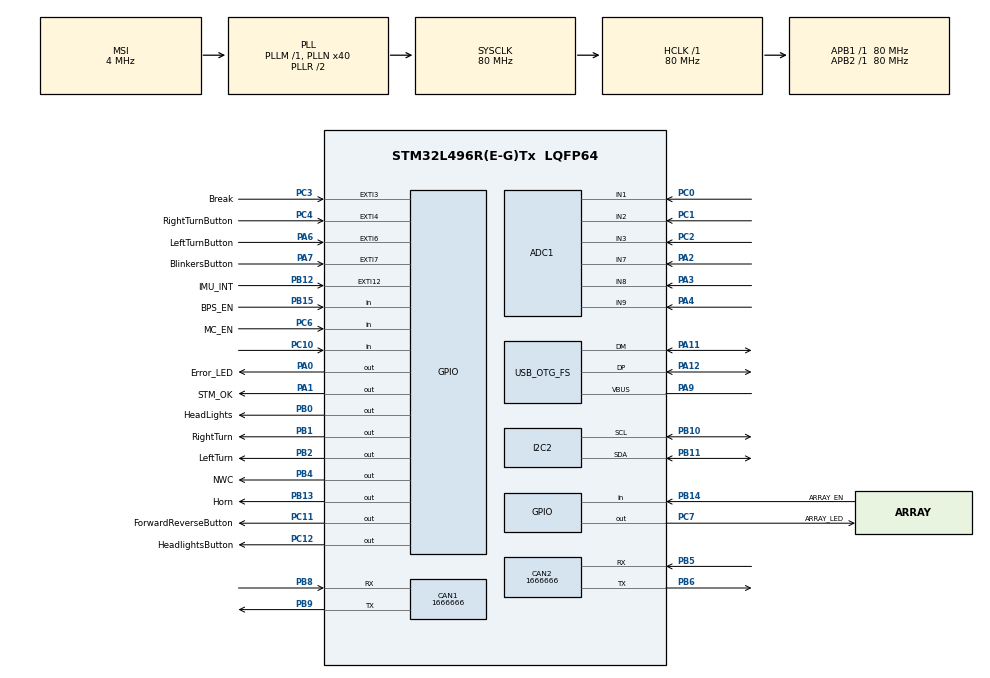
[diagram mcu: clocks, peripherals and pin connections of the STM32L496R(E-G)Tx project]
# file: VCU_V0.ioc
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ADC1.Channel-1\#ChannelRegularConversion=ADC_CHANNEL_1
ADC1.Channel-2\#ChannelRegularConversion=ADC_CHANNEL_1
ADC1.Channel-3\#ChannelRegularConversion=ADC_CHANNEL_1
ADC1.Channel-4\#ChannelRegularConversion=ADC_CHANNEL_1
ADC1.Channel-5\#ChannelRegularConversion=ADC_CHANNEL_1
ADC1.Channel-6\#ChannelRegularConversion=ADC_CHANNEL_1
ADC1.ContinuousConvMode=ENABLE
ADC1.NbrOfConversion=6
ADC1.NbrOfConversionFlag=1
ADC1.OffsetNumber-1\#ChannelRegularConversion=ADC_OFFSET_NONE
ADC1.OffsetNumber-2\#ChannelRegularConversion=ADC_OFFSET_NONE
ADC1.OffsetNumber-3\#ChannelRegularConversion=ADC_OFFSET_NONE
ADC1.OffsetNumber-4\#ChannelRegularConversion=ADC_OFFSET_NONE
ADC1.OffsetNumber-5\#ChannelRegularConversion=ADC_OFFSET_NONE
ADC1.OffsetNumber-6\#ChannelRegularConversion=ADC_OFFSET_NONE
ADC1.Rank-1\#ChannelRegularConversion=1
ADC1.Rank-2\#ChannelRegularConversion=2
ADC1.Rank-3\#ChannelRegularConversion=3
ADC1.Rank-4\#ChannelRegularConversion=4
ADC1.Rank-5\#ChannelRegularConversion=5
ADC1.Rank-6\#ChannelRegularConversion=6
ADC1.SamplingTime-1\#ChannelRegularConversion=ADC_SAMPLETIME_2CYCLES_5
ADC1.SamplingTime-2\#ChannelRegularConversion=ADC_SAMPLETIME_2CYCLES_5
ADC1.SamplingTime-3\#ChannelRegularConversion=ADC_SAMPLETIME_2CYCLES_5
ADC1.SamplingTime-4\#ChannelRegularConversion=ADC_SAMPLETIME_2CYCLES_5
ADC1.SamplingTime-5\#ChannelRegularConversion=ADC_SAMPLETIME_2CYCLES_5
ADC1.SamplingTime-6\#ChannelRegularConversion=ADC_SAMPLETIME_2CYCLES_5
ADC1.master=1
CAN1.BS1=CAN_BS1_1TQ
CAN1.BS2=CAN_BS2_1TQ
CAN1.CalculateBaudRate=1666666
CAN1.CalculateTimeBit=600
CAN1.CalculateTimeQuantum=200.0
CAN2.BS1=CAN_BS1_1TQ
CAN2.BS2=CAN_BS2_1TQ
CAN2.CalculateBaudRate=1666666
CAN2.CalculateTimeBit=600
CAN2.CalculateTimeQuantum=200.0
Dma.ADC1.0.Direction=DMA_PERIPH_TO_MEMORY
Dma.ADC1.0.Instance=DMA1_Channel1
Dma.ADC1.0.MemDataAlignment=DMA_MDATAALIGN_HALFWORD
Dma.ADC1.0.MemInc=DMA_MINC_ENABLE
Dma.ADC1.0.Mode=DMA_NORMAL
Dma.ADC1.0.PeriphDataAlignment=DMA_PDATAALIGN_HALFWORD
Dma.ADC1.0.PeriphInc=DMA_PINC_DISABLE
Dma.ADC1.0.Priority=DMA_PRIORITY_VERY_HIGH
Dma.Request0=ADC1
FREERTOS.Tasks01=LightControl,24,128,StartlLightControl,Default,NULL,Dynamic,NULL,NULL;CarData,32,128,StartCarData,Default,NULL,Dynamic,NULL,NULL;DataCAN,8,128,SendData,Default,NULL,Dynamic,NULL,NULL;MotorControl,40,128,StartMotorInput,Default,NULL,Dynamic,NULL,NULL;ReadingSensor,8,128,StartSensor,Default,NULL,Dynamic,NULL,NULL
FREERTOS.configTOTAL_HEAP_SIZE=4000
FREERTOS.configUSE_NEWLIB_REENTRANT=1
I2C2.Timing=0x10909CEC
Mcu.Family=STM32L4
Mcu.Name=STM32L496R(E-G)Tx
Mcu.Package=LQFP64
NVIC.ADC1_2_IRQn=true\:5\:0\:false\:false\:true\:true\:true\:true\:true
NVIC.DMA1_Channel1_IRQn=true\:5\:0\:false\:false\:true\:true\:false\:true\:true
NVIC.EXTI4_IRQn=true\:5\:0\:false\:false\:true\:false\:true\:true\:true
NVIC.OTG_FS_IRQn=true\:5\:0\:false\:false\:true\:true\:false\:true\:true
NVIC.PriorityGroup=NVIC_PRIORITYGROUP_4
NVIC.TIM7_IRQn=true\:15\:0\:false\:false\:true\:false\:false\:true\:true
NVIC.TimeBase=TIM7_IRQn
NVIC.TimeBaseIP=TIM7
PA0.GPIO_Label=Error_LED
PA0.Signal=GPIO_Output
PA1.GPIO_Label=STM_OK
PA1.Signal=GPIO_Output
PA11.Mode=Device_Only
PA11.Signal=USB_OTG_FS_DM
PA12.Mode=Device_Only
PA12.Signal=USB_OTG_FS_DP
PA13\ (JTMS/SWDIO).Mode=Serial_Wire
PA13\ (JTMS/SWDIO).Signal=SYS_JTMS-SWDIO
PA14\ (JTCK/SWCLK).Mode=Serial_Wire
PA14\ (JTCK/SWCLK).Signal=SYS_JTCK-SWCLK
PA2.Signal=ADCx_IN7
PA3.Signal=ADCx_IN8
PA4.Signal=ADCx_IN9
PA6.GPIO_Label=LeftTurnButton
PA6.Signal=GPXTI6
PA7.GPIO_Label=BlinkersButton
PA7.Signal=GPXTI7
PA9.Mode=Activate_VBUS
PA9.Signal=USB_OTG_FS_VBUS
PB0.GPIO_Label=HeadLights
PB0.Signal=GPIO_Output
PB1.GPIO_Label=RightTurn
PB1.Signal=GPIO_Output
PB10.Mode=I2C
PB10.Signal=I2C2_SCL
PB11.Mode=I2C
PB11.Signal=I2C2_SDA
PB12.GPIO_Label=IMU_INT
PB12.Signal=GPXTI12
PB13.GPIO_Label=Horn
PB13.Signal=GPIO_Output
PB14.GPIO_Label=ARRAY_EN
PB14.Signal=GPIO_Input
PB15.GPIO_Label=BPS_EN
PB15.Signal=GPIO_Input
PB2.GPIO_Label=LeftTurn
PB2.Signal=GPIO_Output
PB4\ (NJTRST).GPIO_Label=NWC
PB4\ (NJTRST).Signal=GPIO_Output
PB5.Mode=CAN_Activate
PB5.Signal=CAN2_RX
PB6.Mode=CAN_Activate
PB6.Signal=CAN2_TX
PB8.Mode=CAN_Activate
PB8.Signal=CAN1_RX
PB9.Mode=CAN_Activate
PB9.Signal=CAN1_TX
PC0.Signal=ADCx_IN1
PC1.Signal=ADCx_IN2
PC10.Signal=GPIO_Input
PC11.GPIO_Label=ForwardReverseButton
PC11.Signal=GPIO_Output
PC12.GPIO_Label=HeadlightsButton
PC12.Signal=GPIO_Output
PC14-OSC32_IN\ (PC14).Mode=LSE-External-Clock-Source
PC14-OSC32_IN\ (PC14).Signal=RCC_OSC32_IN
PC2.Signal=ADCx_IN3
PC3.GPIO_Label=Break
PC3.Signal=GPXTI3
PC4.GPIO_Label=RightTurnButton
PC4.Signal=GPXTI4
PC6.GPIO_Label=MC_EN
PC6.Signal=GPIO_Input
PC7.GPIO_Label=ARRAY_LED
PC7.Signal=GPIO_Output
ProjectManager.HeapSize=0x200
ProjectManager.StackSize=0x400
ProjectManager.TargetToolchain=STM32CubeIDE
RCC.ADCFreq_Value=48000000
RCC.AHBFreq_Value=80000000
RCC.APB1Freq_Value=80000000
RCC.APB1TimFreq_Value=80000000
RCC.APB2Freq_Value=80000000
RCC.APB2TimFreq_Value=80000000
RCC.CortexFreq_Value=80000000
RCC.HCLKFreq_Value=80000000
RCC.HSE_VALUE=8000000
RCC.HSI48_VALUE=48000000
RCC.HSI_VALUE=16000000
RCC.LSE_VALUE=32768
RCC.MSICalibrationValue=1
RCC.MSI_VALUE=4000000
RCC.PLLN=40
RCC.PLLSAI1N=24
RCC.SYSCLKFreq_VALUE=80000000
RCC.SYSCLKSource=RCC_SYSCLKSOURCE_PLLCLK
RCC.USBFreq_Value=48000000
RCC.VCOOutputFreq_Value=160000000
SH.ADCx_IN1.0=ADC1_IN1,IN1-Single-Ended
SH.ADCx_IN2.0=ADC1_IN2,IN2-Single-Ended
SH.ADCx_IN3.0=ADC1_IN3,IN3-Single-Ended
SH.ADCx_IN7.0=ADC1_IN7,IN7-Single-Ended
SH.ADCx_IN8.0=ADC1_IN8,IN8-Single-Ended
SH.ADCx_IN9.0=ADC1_IN9,IN9-Single-Ended
USB_DEVICE.CLASS_NAME_FS=CDC
USB_DEVICE.VirtualMode=Cdc
USB_DEVICE.VirtualModeFS=Cdc_FS
USB_OTG_FS.VirtualMode=Device_Only
VP_FREERTOS_VS_CMSIS_V2.Mode=CMSIS_V2
VP_SYS_VS_tim7.Mode=TIM7
VP_USB_DEVICE_VS_USB_DEVICE_CDC_FS.Mode=CDC_FS
board=custom

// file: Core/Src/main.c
/* USER CODE BEGIN Header */
//notes for samuel Nay
/*
 * 1. Create Interupt if states for swtichboard buttons and switches, leave switches empty, flip boolean for buttons
 * 2. Write horn reading code
 * 3. Wirte if statement for writing horn control pin
 *
 *
 *
 */

/**
  ******************************************************************************
  * @file           : main.c
  * @brief          : Main program body
  ******************************************************************************
  * @attention
  *
  * Copyright (c) 2023 STMicroelectronics.
  * All rights reserved.
  *
  * This software is licensed under terms that can be found in the LICENSE file
  * in the root directory of this software component.
  * If no LICENSE file comes with this software, it is provided AS-IS.
  *
  ******************************************************************************
  */
/* USER CODE END Header */
#include "main.h"
#include "cmsis_os.h"
#include "usb_device.h"

/* USER CODE BEGIN Includes */
#include <stdbool.h>
#include<string.h>
/* USER CODE END Includes */

/* USER CODE BEGIN Header */
//notes for samuel Nay
/*
 * 1. Create Interupt if states for swtichboard buttons and switches, leave switches empty, flip boolean for buttons
 * 2. Write horn reading code
 * 3. Wirte if statement for writing horn control pin
 *
 *
 *
 */

/**
  ******************************************************************************
  * @file           : main.c
  * @brief          : Main program body
  ******************************************************************************
  * @attention
  *
  * Copyright (c) 2023 STMicroelectronics.
  * All rights reserved.
  *
  * This software is licensed under terms that can be found in the LICENSE file
  * in the root directory of this software component.
  * If no LICENSE file comes with this software, it is provided AS-IS.
  *
  ******************************************************************************
  */
/* USER CODE END Header */

ADC_HandleTypeDef hadc1;
DMA_HandleTypeDef hdma_adc1;

CAN_HandleTypeDef hcan1;
CAN_HandleTypeDef hcan2;

I2C_HandleTypeDef hi2c2;

/* USER CODE BEGIN Header */
//notes for samuel Nay
/*
 * 1. Create Interupt if states for swtichboard buttons and switches, leave switches empty, flip boolean for buttons
 * 2. Write horn reading code
 * 3. Wirte if statement for writing horn control pin
 *
 *
 *
 */

/**
  ******************************************************************************
  * @file           : main.c
  * @brief          : Main program body
  ******************************************************************************
  * @attention
  *
  * Copyright (c) 2023 STMicroelectronics.
  * All rights reserved.
  *
  * This software is licensed under terms that can be found in the LICENSE file
  * in the root directory of this software component.
  * If no LICENSE file comes with this software, it is provided AS-IS.
  *
  ******************************************************************************
  */
/* USER CODE END Header */
/* USER CODE BEGIN PV */
uint16_t ADC_Storage[6];
char data[20];
/* USER CODE END PV */

void SystemClock_Config(void);
void PeriphCommonClock_Config(void);
static void MX_GPIO_Init(void);
static void MX_DMA_Init(void);
static void MX_ADC1_Init(void);
static void MX_CAN1_Init(void);
static void MX_CAN2_Init(void);
static void MX_I2C2_Init(void);
void StartlLightControl(void *argument);
void StartCarData(void *argument);
void SendData(void *argument);
void StartMotorInput(void *argument);
void StartSensor(void *argument);

/* USER CODE BEGIN PFP */
//HAL_I2C_Mem_Write(&hi2c1, MPU6050_ADDR, SMPLRT_DIV_REG, 1, &Data, 1, 1000);
//HAL_I2C_Mem_Read (I2C_HandleTypeDef * hi2c, uint16_t DevAddress, uint16_t MemAddress, uint16_t MemAddSize, uint8_t * pData, uint16_t Size, uint32_t Timeout)
bool IMU_INIT(I2C_HandleTypeDef* handle){
	/*
	HAL_I2C_Mem_Read (I2C_HandleTypeDef * hi2c, uint16_t DevAddress, uint16_t MemAddress, uint16_t MemAddSize, uint8_t * pData, uint16_t Size, uint32_t Timeout)
	if()
	*/
}

int16_t GYRO_READ_DIR(char dir){
	uint8_t low[1];
	uint8_t high[1];
	if(dir == 'x'){
		//two mem reads
		//return((int16_t)high << 8) | low;
	}
}
//int16 READ_READ_DIR(char dir){

//}

/* TEMPERATURE SENSOR CODE */

static const uint8_t TMP102_ADDR = 0x48 << 1; // 8 bit Address
static const uint8_t REG_TEMP = 0x00;

float Read_Temperature()
{

	HAL_StatusTypeDef temp_status;
	uint8_t buf[12];
	uint16_t rawTemp;
	float tempFloat;

	// Tell TMP102 that we want to read from the temperature register
	buf[0] = REG_TEMP;
	temp_status = HAL_I2C_Master_Transmit(&hi2c1, TMP102_ADDR, buf, 1, HAL_MAX_DELAY);
	if (temp_status != HAL_OK)
	{
		strcpy((char*))buf, "Error: Transmit Error");
	}else{

		// Read 2 bytes from the temperature register
		temp_status = HAL_I2C_Master_Receive(&hi2c1, TMP102_ADDR, buf, 2, HAL_MAX_DELAY);
		if (temp_status != HAL_OK){
			strcpy((char*)buf, "Error: Receive Error");
		}else{

			// Combine the bytes
			rawTemp = ((int16_t)buf[0] << 4 | buf[1] >> 4);

			// Convert to 2's complement, since temperature can be negative
			if (val > 0x7FF){

				val |= 0xF000;

			}

			// Convert to float temperature value (Celsius)
			tempFloat = val * 0.0625;
			return tempFloat;

		}

	}
	return 129.0;

}
/* TEMPERATURE SENSOR CODE END :) */

/*MEMORY CHIP CODE START */

void Float_To_Bytes(float val, byte* bytes){

	union u
	{
		float tempFloat;
		byte bytesArray[4];
	};

	u.tempFloat = val;

	memcpy(bytes, u.tempFloat, 4);
}

float Bytes_To_Float(byte* bytes){

}

void writeData(char c, float data){
	//bit math divides
	HAL_I2C_Mem_Write(&hi2c1, MPU6050_ADDR, SMPLRT_DIV_REG, 1, &Data, 4, 1000);
}

float readData(char data){

}

void TickOdometers(){

}

/*MEMORY CHIP CODE END*/

/* USER CODE END PFP */

/* USER CODE BEGIN 0 */

uint8_t USBRxDataReady = 0;
uint8_t* USBRxDataBuffer;
uint8_t USBRxDataLength = 0;
char flag  = "A"

uint16_t ADC_DMA_TEST_BUFFER[]

void USBRxHandler(uint8_t* buf, uint32_t Len){

	USBRxDataBuffer = buf;
	USBRxDataLength = Len;
	USBRxDataReady = 1;
	return;

}

///global task values

bool DataReady = 0;

//booleans for right turn, left turn, blinkers, headlights, forward/reverse, horn

bool Steering_Wheel_Is_Active = true;
//Brake
static uint16_t Brake_Pot_Avg;
//Acc
static uint16_t Throttle_Pot_Avg;
//ADC Channel Selector

  void Select_ADC_Channel(int channel){

	  ADC_ChannelConfTypeDef sConfig = {0};

	  switch(channel){

	  case 1:
		  sConfig.Channel = ADC_CHANNEL_0;
		    sConfig.Rank = ADC_REGULAR_RANK_1;
		    sConfig.SamplingTime = ADC_SAMPLETIME_2CYCLES_5;
		    sConfig.SingleDiff = ADC_SINGLE_ENDED;
		    sConfig.OffsetNumber = ADC_OFFSET_NONE;
		    sConfig.Offset = 0;
		    if (HAL_ADC_ConfigChannel(&hadc1, &sConfig) != HAL_OK)
		    {
		      Error_Handler();
		    }
		    break;
	  case 2:
		  sConfig.Channel = ADC_CHANNEL_1;
		    sConfig.Rank = ADC_REGULAR_RANK_1;
		    sConfig.SamplingTime = ADC_SAMPLETIME_2CYCLES_5;
		    sConfig.SingleDiff = ADC_SINGLE_ENDED;
		    sConfig.OffsetNumber = ADC_OFFSET_NONE;
		    sConfig.Offset = 0;
		    if (HAL_ADC_ConfigChannel(&hadc1, &sConfig) != HAL_OK)
		    {
		      Error_Handler();
		    }
		    break;
	  case 3:
		  sConfig.Channel = ADC_CHANNEL_2;
		    sConfig.Rank = ADC_REGULAR_RANK_1;
		    sConfig.SamplingTime = ADC_SAMPLETIME_2CYCLES_5;
		    sConfig.SingleDiff = ADC_SINGLE_ENDED;
		    sConfig.OffsetNumber = ADC_OFFSET_NONE;
		    sConfig.Offset = 0;
		    if (HAL_ADC_ConfigChannel(&hadc1, &sConfig) != HAL_OK)
		    {
		      Error_Handler();
		    }
		    break;
	  case 4:
		  sConfig.Channel = ADC_CHANNEL_3;
		    sConfig.Rank = ADC_REGULAR_RANK_1;
		    sConfig.SamplingTime = ADC_SAMPLETIME_2CYCLES_5;
		    sConfig.SingleDiff = ADC_SINGLE_ENDED;
		    sConfig.OffsetNumber = ADC_OFFSET_NONE;
		    sConfig.Offset = 0;
		    if (HAL_ADC_ConfigChannel(&hadc1, &sConfig) != HAL_OK)
		    {
		      Error_Handler();
		    }
		    break;
	  case 5:
		  sConfig.Channel = ADC_CHANNEL_4;
		    sConfig.Rank = ADC_REGULAR_RANK_1;
		    sConfig.SamplingTime = ADC_SAMPLETIME_2CYCLES_5;
		    sConfig.SingleDiff = ADC_SINGLE_ENDED;
		    sConfig.OffsetNumber = ADC_OFFSET_NONE;
		    sConfig.Offset = 0;
		    if (HAL_ADC_ConfigChannel(&hadc1, &sConfig) != HAL_OK)
		    {
		      Error_Handler();
		    }
		    break;
	  case 6:
		  sConfig.Channel = ADC_CHANNEL_5;
		    sConfig.Rank = ADC_REGULAR_RANK_1;
		    sConfig.SamplingTime = ADC_SAMPLETIME_2CYCLES_5;
		    sConfig.SingleDiff = ADC_SINGLE_ENDED;
		    sConfig.OffsetNumber = ADC_OFFSET_NONE;
		    sConfig.Offset = 0;
		    if (HAL_ADC_ConfigChannel(&hadc1, &sConfig) != HAL_OK)
		    {
		      Error_Handler();
		    }
		    break;
	  }

  }

  uint16_t Rough_Potentiometer_Average(uint16_t signals[]){
	  uint16_t functioning_inputs = 3;
	  uint16_t sum = 0;
	  uint16_t i = functioning_inputs;

	  while(i>0){
		  if((signals[i]==0 || signals[i] == 4095)&& functioning_inputs>0){
			  functioning_inputs--;
		  }

		  if(functioning_inputs == 0){
			  return 0;
		  }
		  else{
			sum+=signals[i];
		  }

		  i--;

	  }

	  //return average of working signals
	  return sum/functioning_inputs;

  }

  //Will store respective potentiometer values for adc
  uint16_t Throttle_ADC[3];
  uint16_t Brake_ADC[3];
/* USER CODE END 0 */

int main(void)
{

  /* MCU Configuration--------------------------------------------------------*/

  /* Reset of all peripherals, Initializes the Flash interface and the Systick. */
  HAL_Init();

  /* Configure the system clock */
  SystemClock_Config();

/* Configure the peripherals common clocks */
  PeriphCommonClock_Config();

  /* Initialize all configured peripherals */
  MX_GPIO_Init();
  MX_DMA_Init();
  MX_ADC1_Init();
  MX_CAN1_Init();
  MX_CAN2_Init();
  MX_I2C2_Init();

  /* Init scheduler */
  osKernelInitialize();
/* USER CODE BEGIN Header */
//notes for samuel Nay
/*
 * 1. Create Interupt if states for swtichboard buttons and switches, leave switches empty, flip boolean for buttons
 * 2. Write horn reading code
 * 3. Wirte if statement for writing horn control pin
 *
 *
 *
 */

/**
  ******************************************************************************
  * @file           : main.c
  * @brief          : Main program body
  ******************************************************************************
  * @attention
  *
  * Copyright (c) 2023 STMicroelectronics.
  * All rights reserved.
  *
  * This software is licensed under terms that can be found in the LICENSE file
  * in the root directory of this software component.
  * If no LICENSE file comes with this software, it is provided AS-IS.
  *
  ******************************************************************************
  */
/* USER CODE END Header */

  /* Start scheduler */
  osKernelStart();

  /* We should never get here as control is now taken by the scheduler */
  /* Infinite loop */
  /* USER CODE BEGIN WHILE */
  while (1)
  {

	  if(USBRxDataReady == 1 ){

		  if(strncmp(USBRxDataBuffer,"A",USBRxDataLength == 0))
		CDC_Transmit_FS("Echo\r\n",6);

		  USBRxDataReady = 0;
	  }

    /* USER CODE END WHILE */

  }
}

void SystemClock_Config(void)
{
  RCC_OscInitTypeDef RCC_OscInitStruct = {0};
  RCC_ClkInitTypeDef RCC_ClkInitStruct = {0};

  /** Configure the main internal regulator output voltage
  */
  if (HAL_PWREx_ControlVoltageScaling(PWR_REGULATOR_VOLTAGE_SCALE1) != HAL_OK)
  {
    Error_Handler();
  }

  /** Initializes the RCC Oscillators according to the specified parameters
  * in the RCC_OscInitTypeDef structure.
  */
  RCC_OscInitStruct.OscillatorType = RCC_OSCILLATORTYPE_LSE|RCC_OSCILLATORTYPE_MSI;
  RCC_OscInitStruct.LSEState = RCC_LSE_BYPASS;
  RCC_OscInitStruct.MSIState = RCC_MSI_ON;
  RCC_OscInitStruct.MSICalibrationValue = 1;
  RCC_OscInitStruct.MSIClockRange = RCC_MSIRANGE_6;
  RCC_OscInitStruct.PLL.PLLState = RCC_PLL_ON;
  RCC_OscInitStruct.PLL.PLLSource = RCC_PLLSOURCE_MSI;
  RCC_OscInitStruct.PLL.PLLM = 1;
  RCC_OscInitStruct.PLL.PLLN = 40;
  RCC_OscInitStruct.PLL.PLLP = RCC_PLLP_DIV2;
  RCC_OscInitStruct.PLL.PLLQ = RCC_PLLQ_DIV2;
  RCC_OscInitStruct.PLL.PLLR = RCC_PLLR_DIV2;
  if (HAL_RCC_OscConfig(&RCC_OscInitStruct) != HAL_OK)
  {
    Error_Handler();
  }

  /** Initializes the CPU, AHB and APB buses clocks
  */
  RCC_ClkInitStruct.ClockType = RCC_CLOCKTYPE_HCLK|RCC_CLOCKTYPE_SYSCLK
                              |RCC_CLOCKTYPE_PCLK1|RCC_CLOCKTYPE_PCLK2;
  RCC_ClkInitStruct.SYSCLKSource = RCC_SYSCLKSOURCE_PLLCLK;
  RCC_ClkInitStruct.AHBCLKDivider = RCC_SYSCLK_DIV1;
  RCC_ClkInitStruct.APB1CLKDivider = RCC_HCLK_DIV1;
  RCC_ClkInitStruct.APB2CLKDivider = RCC_HCLK_DIV1;

  if (HAL_RCC_ClockConfig(&RCC_ClkInitStruct, FLASH_LATENCY_4) != HAL_OK)
  {
    Error_Handler();
  }

  /** Enable MSI Auto calibration
  */
  HAL_RCCEx_EnableMSIPLLMode();
}

void PeriphCommonClock_Config(void)
{
  RCC_PeriphCLKInitTypeDef PeriphClkInit = {0};

  /** Initializes the peripherals clock
  */
  PeriphClkInit.PeriphClockSelection = RCC_PERIPHCLK_USB|RCC_PERIPHCLK_ADC;
  PeriphClkInit.AdcClockSelection = RCC_ADCCLKSOURCE_PLLSAI1;
  PeriphClkInit.UsbClockSelection = RCC_USBCLKSOURCE_PLLSAI1;
  PeriphClkInit.PLLSAI1.PLLSAI1Source = RCC_PLLSOURCE_MSI;
  PeriphClkInit.PLLSAI1.PLLSAI1M = 1;
  PeriphClkInit.PLLSAI1.PLLSAI1N = 24;
  PeriphClkInit.PLLSAI1.PLLSAI1P = RCC_PLLP_DIV2;
  PeriphClkInit.PLLSAI1.PLLSAI1Q = RCC_PLLQ_DIV2;
  PeriphClkInit.PLLSAI1.PLLSAI1R = RCC_PLLR_DIV2;
  PeriphClkInit.PLLSAI1.PLLSAI1ClockOut = RCC_PLLSAI1_48M2CLK|RCC_PLLSAI1_ADC1CLK;
  if (HAL_RCCEx_PeriphCLKConfig(&PeriphClkInit) != HAL_OK)
  {
    Error_Handler();
  }
}

static void MX_ADC1_Init(void)
{

  ADC_MultiModeTypeDef multimode = {0};
  ADC_ChannelConfTypeDef sConfig = {0};

  /** Common config
  */
  hadc1.Instance = ADC1;
  hadc1.Init.ClockPrescaler = ADC_CLOCK_ASYNC_DIV1;
  hadc1.Init.Resolution = ADC_RESOLUTION_12B;
  hadc1.Init.DataAlign = ADC_DATAALIGN_RIGHT;
  hadc1.Init.ScanConvMode = ADC_SCAN_ENABLE;
  hadc1.Init.EOCSelection = ADC_EOC_SINGLE_CONV;
  hadc1.Init.LowPowerAutoWait = DISABLE;
  hadc1.Init.ContinuousConvMode = ENABLE;
  hadc1.Init.NbrOfConversion = 6;
  hadc1.Init.DiscontinuousConvMode = DISABLE;
  hadc1.Init.ExternalTrigConv = ADC_SOFTWARE_START;
  hadc1.Init.ExternalTrigConvEdge = ADC_EXTERNALTRIGCONVEDGE_NONE;
  hadc1.Init.DMAContinuousRequests = DISABLE;
  hadc1.Init.Overrun = ADC_OVR_DATA_PRESERVED;
  hadc1.Init.OversamplingMode = DISABLE;
  if (HAL_ADC_Init(&hadc1) != HAL_OK)
  {
    Error_Handler();
  }

  /** Configure the ADC multi-mode
  */
  multimode.Mode = ADC_MODE_INDEPENDENT;
  if (HAL_ADCEx_MultiModeConfigChannel(&hadc1, &multimode) != HAL_OK)
  {
    Error_Handler();
  }

  /** Configure Regular Channel
  */
  sConfig.Channel = ADC_CHANNEL_1;
  sConfig.Rank = ADC_REGULAR_RANK_1;
  sConfig.SamplingTime = ADC_SAMPLETIME_2CYCLES_5;
  sConfig.SingleDiff = ADC_SINGLE_ENDED;
  sConfig.OffsetNumber = ADC_OFFSET_NONE;
  sConfig.Offset = 0;
  if (HAL_ADC_ConfigChannel(&hadc1, &sConfig) != HAL_OK)
  {
    Error_Handler();
  }

  /** Configure Regular Channel
  */
  sConfig.Rank = ADC_REGULAR_RANK_2;
  if (HAL_ADC_ConfigChannel(&hadc1, &sConfig) != HAL_OK)
  {
    Error_Handler();
  }

  /** Configure Regular Channel
  */
  sConfig.Rank = ADC_REGULAR_RANK_3;
  if (HAL_ADC_ConfigChannel(&hadc1, &sConfig) != HAL_OK)
  {
    Error_Handler();
  }

  /** Configure Regular Channel
  */
  sConfig.Rank = ADC_REGULAR_RANK_4;
  if (HAL_ADC_ConfigChannel(&hadc1, &sConfig) != HAL_OK)
  {
    Error_Handler();
  }

  /** Configure Regular Channel
  */
  sConfig.Rank = ADC_REGULAR_RANK_5;
  if (HAL_ADC_ConfigChannel(&hadc1, &sConfig) != HAL_OK)
  {
    Error_Handler();
  }

  /** Configure Regular Channel
  */
  sConfig.Rank = ADC_REGULAR_RANK_6;
  if (HAL_ADC_ConfigChannel(&hadc1, &sConfig) != HAL_OK)
  {
    Error_Handler();
  }

}

static void MX_CAN1_Init(void)
{

  hcan1.Instance = CAN1;
  hcan1.Init.Prescaler = 16;
  hcan1.Init.Mode = CAN_MODE_NORMAL;
  hcan1.Init.SyncJumpWidth = CAN_SJW_1TQ;
  hcan1.Init.TimeSeg1 = CAN_BS1_1TQ;
  hcan1.Init.TimeSeg2 = CAN_BS2_1TQ;
  hcan1.Init.TimeTriggeredMode = DISABLE;
  hcan1.Init.AutoBusOff = DISABLE;
  hcan1.Init.AutoWakeUp = DISABLE;
  hcan1.Init.AutoRetransmission = DISABLE;
  hcan1.Init.ReceiveFifoLocked = DISABLE;
  hcan1.Init.TransmitFifoPriority = DISABLE;
  if (HAL_CAN_Init(&hcan1) != HAL_OK)
  {
    Error_Handler();
  }

}

static void MX_CAN2_Init(void)
{

  hcan2.Instance = CAN2;
  hcan2.Init.Prescaler = 16;
  hcan2.Init.Mode = CAN_MODE_NORMAL;
  hcan2.Init.SyncJumpWidth = CAN_SJW_1TQ;
  hcan2.Init.TimeSeg1 = CAN_BS1_1TQ;
  hcan2.Init.TimeSeg2 = CAN_BS2_1TQ;
  hcan2.Init.TimeTriggeredMode = DISABLE;
  hcan2.Init.AutoBusOff = DISABLE;
  hcan2.Init.AutoWakeUp = DISABLE;
  hcan2.Init.AutoRetransmission = DISABLE;
  hcan2.Init.ReceiveFifoLocked = DISABLE;
  hcan2.Init.TransmitFifoPriority = DISABLE;
  if (HAL_CAN_Init(&hcan2) != HAL_OK)
  {
    Error_Handler();
  }

}

static void MX_I2C2_Init(void)
{

  hi2c2.Instance = I2C2;
  hi2c2.Init.Timing = 0x10909CEC;
  hi2c2.Init.OwnAddress1 = 0;
  hi2c2.Init.AddressingMode = I2C_ADDRESSINGMODE_7BIT;
  hi2c2.Init.DualAddressMode = I2C_DUALADDRESS_DISABLE;
  hi2c2.Init.OwnAddress2 = 0;
  hi2c2.Init.OwnAddress2Masks = I2C_OA2_NOMASK;
  hi2c2.Init.GeneralCallMode = I2C_GENERALCALL_DISABLE;
  hi2c2.Init.NoStretchMode = I2C_NOSTRETCH_DISABLE;
  if (HAL_I2C_Init(&hi2c2) != HAL_OK)
  {
    Error_Handler();
  }

  /** Configure Analogue filter
  */
  if (HAL_I2CEx_ConfigAnalogFilter(&hi2c2, I2C_ANALOGFILTER_ENABLE) != HAL_OK)
  {
    Error_Handler();
  }

  /** Configure Digital filter
  */
  if (HAL_I2CEx_ConfigDigitalFilter(&hi2c2, 0) != HAL_OK)
  {
    Error_Handler();
  }

}

static void MX_DMA_Init(void)
{

  /* DMA controller clock enable */
  __HAL_RCC_DMA1_CLK_ENABLE();

  /* DMA interrupt init */
  /* DMA1_Channel1_IRQn interrupt configuration */
  HAL_NVIC_SetPriority(DMA1_Channel1_IRQn, 5, 0);
  HAL_NVIC_EnableIRQ(DMA1_Channel1_IRQn);

}

static void MX_GPIO_Init(void)
{
  GPIO_InitTypeDef GPIO_InitStruct = {0};

  /* GPIO Ports Clock Enable */
  __HAL_RCC_GPIOC_CLK_ENABLE();
  __HAL_RCC_GPIOA_CLK_ENABLE();
  __HAL_RCC_GPIOB_CLK_ENABLE();

  /*Configure GPIO pin Output Level */
  HAL_GPIO_WritePin(GPIOA, Error_LED_Pin|STM_OK_Pin, GPIO_PIN_RESET);

  /*Configure GPIO pin Output Level */
  HAL_GPIO_WritePin(GPIOB, HeadLights_Pin|RightTurn_Pin|LeftTurn_Pin|Horn_Pin
                          |NWC_Pin, GPIO_PIN_RESET);

  /*Configure GPIO pin Output Level */
  HAL_GPIO_WritePin(GPIOC, ARRAY_LED_Pin|ForwardReverseButton_Pin|HeadlightsButton_Pin, GPIO_PIN_RESET);

  /*Configure GPIO pins : Break_Pin RightTurnButton_Pin */
  GPIO_InitStruct.Pin = Break_Pin|RightTurnButton_Pin;
  GPIO_InitStruct.Mode = GPIO_MODE_IT_RISING;
  GPIO_InitStruct.Pull = GPIO_NOPULL;
  HAL_GPIO_Init(GPIOC, &GPIO_InitStruct);

  /*Configure GPIO pins : Error_LED_Pin STM_OK_Pin */
  GPIO_InitStruct.Pin = Error_LED_Pin|STM_OK_Pin;
  GPIO_InitStruct.Mode = GPIO_MODE_OUTPUT_PP;
  GPIO_InitStruct.Pull = GPIO_NOPULL;
  GPIO_InitStruct.Speed = GPIO_SPEED_FREQ_LOW;
  HAL_GPIO_Init(GPIOA, &GPIO_InitStruct);

  /*Configure GPIO pins : LeftTurnButton_Pin BlinkersButton_Pin */
  GPIO_InitStruct.Pin = LeftTurnButton_Pin|BlinkersButton_Pin;
  GPIO_InitStruct.Mode = GPIO_MODE_IT_RISING;
  GPIO_InitStruct.Pull = GPIO_NOPULL;
  HAL_GPIO_Init(GPIOA, &GPIO_InitStruct);

  /*Configure GPIO pins : HeadLights_Pin RightTurn_Pin LeftTurn_Pin Horn_Pin
                           NWC_Pin */
  GPIO_InitStruct.Pin = HeadLights_Pin|RightTurn_Pin|LeftTurn_Pin|Horn_Pin
                          |NWC_Pin;
  GPIO_InitStruct.Mode = GPIO_MODE_OUTPUT_PP;
  GPIO_InitStruct.Pull = GPIO_NOPULL;
  GPIO_InitStruct.Speed = GPIO_SPEED_FREQ_LOW;
  HAL_GPIO_Init(GPIOB, &GPIO_InitStruct);

  /*Configure GPIO pin : IMU_INT_Pin */
  GPIO_InitStruct.Pin = IMU_INT_Pin;
  GPIO_InitStruct.Mode = GPIO_MODE_IT_RISING;
  GPIO_InitStruct.Pull = GPIO_NOPULL;
  HAL_GPIO_Init(IMU_INT_GPIO_Port, &GPIO_InitStruct);

  /*Configure GPIO pins : ARRAY_EN_Pin BPS_EN_Pin */
  GPIO_InitStruct.Pin = ARRAY_EN_Pin|BPS_EN_Pin;
  GPIO_InitStruct.Mode = GPIO_MODE_INPUT;
  GPIO_InitStruct.Pull = GPIO_NOPULL;
  HAL_GPIO_Init(GPIOB, &GPIO_InitStruct);

  /*Configure GPIO pins : MC_EN_Pin PC10 */
  GPIO_InitStruct.Pin = MC_EN_Pin|GPIO_PIN_10;
  GPIO_InitStruct.Mode = GPIO_MODE_INPUT;
  GPIO_InitStruct.Pull = GPIO_NOPULL;
  HAL_GPIO_Init(GPIOC, &GPIO_InitStruct);

  /*Configure GPIO pins : ARRAY_LED_Pin ForwardReverseButton_Pin HeadlightsButton_Pin */
  GPIO_InitStruct.Pin = ARRAY_LED_Pin|ForwardReverseButton_Pin|HeadlightsButton_Pin;
  GPIO_InitStruct.Mode = GPIO_MODE_OUTPUT_PP;
  GPIO_InitStruct.Pull = GPIO_NOPULL;
  GPIO_InitStruct.Speed = GPIO_SPEED_FREQ_LOW;
  HAL_GPIO_Init(GPIOC, &GPIO_InitStruct);

  /* EXTI interrupt init*/
  HAL_NVIC_SetPriority(EXTI4_IRQn, 5, 0);
  HAL_NVIC_EnableIRQ(EXTI4_IRQn);

}

/* USER CODE BEGIN 4 */

void HAL_GPIO_EXI4_CALLBACK (uint16_t GPIO_PIN){
	if(GPIO_PIN == GPIO_PIN_6){
		//send can message to MC to enable
	}
	//if statment for BPS enable
	//if statment for Array enable

	//right turn
	if(GPIO_PIN == right turn pin){
		if(!steeringwheelactive){//check if steering is acvie //if statment should eveaulate to true if steering wheel is not active
			leftturn = !lefturn
		}
	}
	//left turn
	if(GPIO_PIN == ){

		leftturn = !lefturn
	}
	//blinkers

	//headlights
	//forward reverse

	if( GPIO_PIN == GPIO_PIN_0){
		DataReady=1;
	}

}

/* USER CODE END 4 */

void StartlLightControl(void *argument)
{
  /* init code for USB_DEVICE */
  MX_USB_DEVICE_Init();
  /* USER CODE BEGIN 5 */
  /* Infinite loop */
	//check value of horn bolean
	//if true, set horn out put to high
	// if set horn output to low
	HAL_GPIO_WritePin(GPIOB, Horn, GPIO_PIN_SET);
	HAL_GPIO_WritePin(GPIOB, Horn, GPIO_PIN_RESET);
	// if true
		//StartLightControl;

  for(;;)
  {
    osDelay(1);
  }
  /* USER CODE END 5 */
}

void StartCarData(void *argument)
{
  /* USER CODE BEGIN StartCarData */
	//Byte 1 = command

	//NVIC_SystemReset();
	// CDC_Transmit_FS("Welcome2\r\n", 10);
	if(USBRxDataReady){
		if(buf[0] = 0){
			NVIC_SystemReset();
		}
		if(){//write command
			writeData('c', Data);
		}

	}

  /* Infinite loop */

  for(;;)
  {
    osDelay(1);
  }
  /* USER CODE END StartCarData */
}

void SendData(void *argument)
{
  for(;;)
  {
    osDelay(1);
  }
}

void StartMotorInput(void *argument)
{
  /* USER CODE BEGIN StartMotorInput */
	uint16_t Upper_Bound = 4095;
	uint16_t Lower_Bound = 0;
	if(Steering_Wheel_Is_Active){

		Select_ADC_Channel(1);
		HAL_ADC_Start(&hadc1);
		HAL_ADC_PollForConversion(&hadc1, 1000);
		Throttle_ADC[0] = HAL_ADC_GetValue(&hadc1);
		HAL_ADC_Stop(&hadc1);

		Select_ADC_Channel(2);
		HAL_ADC_Start(&hadc1);
		HAL_ADC_PollForConversion(&hadc1, 1000);
		Throttle_ADC[1] = HAL_ADC_GetValue(&hadc1);
		HAL_ADC_Stop(&hadc1);

		Select_ADC_Channel(3);
		HAL_ADC_Start(&hadc1);
		HAL_ADC_PollForConversion(&hadc1, 1000);
		Throttle_ADC[2] = HAL_ADC_GetValue(&hadc1);
		HAL_ADC_Stop(&hadc1);

		Select_ADC_Channel(4);
		HAL_ADC_Start(&hadc1);
		HAL_ADC_PollForConversion(&hadc1, 1000);
		Brake_ADC[0] = HAL_ADC_GetValue(&hadc1);
		HAL_ADC_Stop(&hadc1);

		Select_ADC_Channel(5);
		HAL_ADC_Start(&hadc1);
		HAL_ADC_PollForConversion(&hadc1, 1000);
		Brake_ADC[1] = HAL_ADC_GetValue(&hadc1);
		HAL_ADC_Stop(&hadc1);

		Select_ADC_Channel(6);
		HAL_ADC_Start(&hadc1);
		HAL_ADC_PollForConversion(&hadc1, 1000);
		Brake_ADC[2] = HAL_ADC_GetValue(&hadc1);
		HAL_ADC_Stop(&hadc1);

		Brake_Pot_Avg = Rough_Potentiometer_Average(Brake_ADC);
		Throttle_Pot_Avg = Rough_Potentiometer_Average(Throttle_Pot_Avg);

	}
	else{}
}

  //HAL_ADC_PollForConversion(&hadc, HAL_MAX_DELAY);

	//(&hadc);
	  //HAL_ADC_PollForConversion(&hadc, HAL_MAX_DELAY);
	  //raw = HAL_ADC_GetValue(&hadc);

	//(&hadc);
	  //HAL_ADC_PollForConversion(&hadc, HAL_MAX_DELAY);
	  //raw = HAL_ADC_GetValue(&hadc);
  /* Infinite loop */

  for(;;)
  {
    osDelay(1);
  }
  /* USER CODE END StartMotorInput */
}

void StartSensor(void *argument)
{
  /* USER CODE BEGIN StartSensor */
	//write code here for reading senesors and horn buttons

	if(HAL_GPIO_ReadPin(GPIOC, GPIO_PIN_10)){
		//if not pressed
	}else{
		//if pressed
	}

  /* Infinite loop */

  for(;;)
  {
    osDelay(1);
  }
  /* USER CODE END StartSensor */
}

void HAL_TIM_PeriodElapsedCallback(TIM_HandleTypeDef *htim)
{
  if (htim->Instance == TIM7) {
    HAL_IncTick();
  }
}

void Error_Handler(void)
{
  __disable_irq();
  while (1)
  {
  }
}
